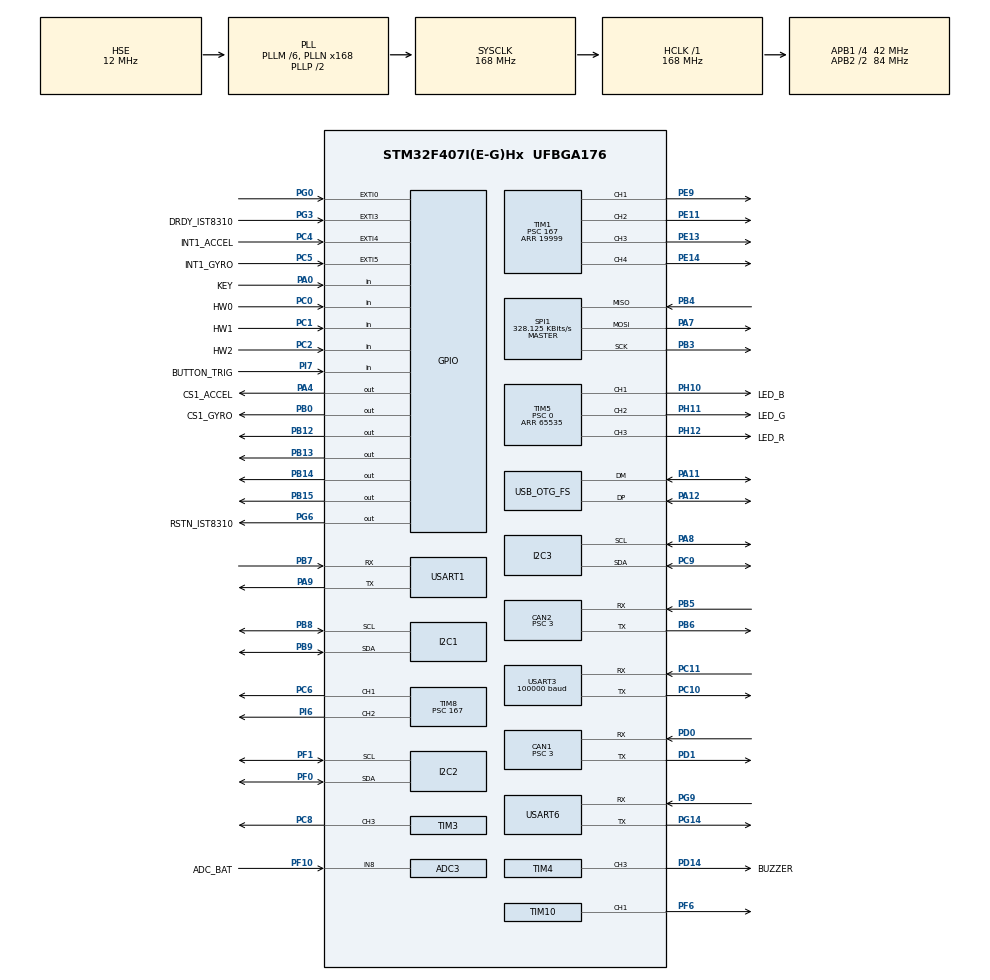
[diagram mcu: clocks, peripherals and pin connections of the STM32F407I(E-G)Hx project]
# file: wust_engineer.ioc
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ADC1.Channel-0\#ChannelRegularConversion=ADC_CHANNEL_TEMPSENSOR
ADC1.ClockPrescaler=ADC_CLOCK_SYNC_PCLK_DIV6
ADC1.NbrOfConversionFlag=1
ADC1.Rank-0\#ChannelRegularConversion=1
ADC1.SamplingTime-0\#ChannelRegularConversion=ADC_SAMPLETIME_3CYCLES
ADC1.master=1
ADC3.Channel-0\#ChannelRegularConversion=ADC_CHANNEL_8
ADC3.ClockPrescaler=ADC_CLOCK_SYNC_PCLK_DIV6
ADC3.NbrOfConversionFlag=1
ADC3.Rank-0\#ChannelRegularConversion=1
ADC3.SamplingTime-0\#ChannelRegularConversion=ADC_SAMPLETIME_3CYCLES
CAN1.BS1=CAN_BS1_10TQ
CAN1.BS2=CAN_BS2_3TQ
CAN1.CalculateBaudRate=1000000
CAN1.CalculateTimeBit=999.99
CAN1.CalculateTimeQuantum=71.42857142857143
CAN1.Prescaler=3
CAN2.BS1=CAN_BS1_10TQ
CAN2.BS2=CAN_BS2_3TQ
CAN2.CalculateBaudRate=1000000
CAN2.CalculateTimeBit=999.99
CAN2.CalculateTimeQuantum=71.42857142857143
CAN2.Prescaler=3
Dma.I2C2_TX.2.Direction=DMA_MEMORY_TO_PERIPH
Dma.I2C2_TX.2.FIFOMode=DMA_FIFOMODE_DISABLE
Dma.I2C2_TX.2.Instance=DMA1_Stream7
Dma.I2C2_TX.2.MemDataAlignment=DMA_MDATAALIGN_BYTE
Dma.I2C2_TX.2.MemInc=DMA_MINC_ENABLE
Dma.I2C2_TX.2.Mode=DMA_NORMAL
Dma.I2C2_TX.2.PeriphDataAlignment=DMA_PDATAALIGN_BYTE
Dma.I2C2_TX.2.PeriphInc=DMA_PINC_DISABLE
Dma.I2C2_TX.2.Priority=DMA_PRIORITY_HIGH
Dma.Request0=SPI1_RX
Dma.Request1=SPI1_TX
Dma.Request2=I2C2_TX
Dma.Request3=USART3_RX
Dma.Request4=USART6_RX
Dma.Request5=USART6_TX
Dma.Request6=USART1_TX
Dma.SPI1_RX.0.Direction=DMA_PERIPH_TO_MEMORY
Dma.SPI1_RX.0.FIFOMode=DMA_FIFOMODE_DISABLE
Dma.SPI1_RX.0.Instance=DMA2_Stream2
Dma.SPI1_RX.0.MemDataAlignment=DMA_MDATAALIGN_BYTE
Dma.SPI1_RX.0.MemInc=DMA_MINC_ENABLE
Dma.SPI1_RX.0.Mode=DMA_NORMAL
Dma.SPI1_RX.0.PeriphDataAlignment=DMA_PDATAALIGN_BYTE
Dma.SPI1_RX.0.PeriphInc=DMA_PINC_DISABLE
Dma.SPI1_RX.0.Priority=DMA_PRIORITY_VERY_HIGH
Dma.SPI1_TX.1.Direction=DMA_MEMORY_TO_PERIPH
Dma.SPI1_TX.1.FIFOMode=DMA_FIFOMODE_DISABLE
Dma.SPI1_TX.1.Instance=DMA2_Stream3
Dma.SPI1_TX.1.MemDataAlignment=DMA_MDATAALIGN_BYTE
Dma.SPI1_TX.1.MemInc=DMA_MINC_ENABLE
Dma.SPI1_TX.1.Mode=DMA_NORMAL
Dma.SPI1_TX.1.PeriphDataAlignment=DMA_PDATAALIGN_BYTE
Dma.SPI1_TX.1.PeriphInc=DMA_PINC_DISABLE
Dma.SPI1_TX.1.Priority=DMA_PRIORITY_HIGH
Dma.USART1_TX.6.Direction=DMA_MEMORY_TO_PERIPH
Dma.USART1_TX.6.FIFOMode=DMA_FIFOMODE_DISABLE
Dma.USART1_TX.6.Instance=DMA2_Stream7
Dma.USART1_TX.6.MemDataAlignment=DMA_MDATAALIGN_BYTE
Dma.USART1_TX.6.MemInc=DMA_MINC_ENABLE
Dma.USART1_TX.6.Mode=DMA_NORMAL
Dma.USART1_TX.6.PeriphDataAlignment=DMA_PDATAALIGN_BYTE
Dma.USART1_TX.6.PeriphInc=DMA_PINC_DISABLE
Dma.USART1_TX.6.Priority=DMA_PRIORITY_MEDIUM
Dma.USART3_RX.3.Direction=DMA_PERIPH_TO_MEMORY
Dma.USART3_RX.3.FIFOMode=DMA_FIFOMODE_DISABLE
Dma.USART3_RX.3.Instance=DMA1_Stream1
Dma.USART3_RX.3.MemDataAlignment=DMA_MDATAALIGN_BYTE
Dma.USART3_RX.3.MemInc=DMA_MINC_ENABLE
Dma.USART3_RX.3.Mode=DMA_NORMAL
Dma.USART3_RX.3.PeriphDataAlignment=DMA_PDATAALIGN_BYTE
Dma.USART3_RX.3.PeriphInc=DMA_PINC_DISABLE
Dma.USART3_RX.3.Priority=DMA_PRIORITY_HIGH
Dma.USART6_RX.4.Direction=DMA_PERIPH_TO_MEMORY
Dma.USART6_RX.4.FIFOMode=DMA_FIFOMODE_DISABLE
Dma.USART6_RX.4.Instance=DMA2_Stream1
Dma.USART6_RX.4.MemDataAlignment=DMA_MDATAALIGN_BYTE
Dma.USART6_RX.4.MemInc=DMA_MINC_ENABLE
Dma.USART6_RX.4.Mode=DMA_NORMAL
Dma.USART6_RX.4.PeriphDataAlignment=DMA_PDATAALIGN_BYTE
Dma.USART6_RX.4.PeriphInc=DMA_PINC_DISABLE
Dma.USART6_RX.4.Priority=DMA_PRIORITY_HIGH
Dma.USART6_TX.5.Direction=DMA_MEMORY_TO_PERIPH
Dma.USART6_TX.5.FIFOMode=DMA_FIFOMODE_DISABLE
Dma.USART6_TX.5.Instance=DMA2_Stream6
Dma.USART6_TX.5.MemDataAlignment=DMA_MDATAALIGN_BYTE
Dma.USART6_TX.5.MemInc=DMA_MINC_ENABLE
Dma.USART6_TX.5.Mode=DMA_NORMAL
Dma.USART6_TX.5.PeriphDataAlignment=DMA_PDATAALIGN_BYTE
Dma.USART6_TX.5.PeriphInc=DMA_PINC_DISABLE
Dma.USART6_TX.5.Priority=DMA_PRIORITY_MEDIUM
FREERTOS.INCLUDE_eTaskGetState=1
FREERTOS.INCLUDE_pcTaskGetTaskName=1
FREERTOS.INCLUDE_uxTaskGetStackHighWaterMark=1
FREERTOS.INCLUDE_vTaskCleanUpResources=1
FREERTOS.INCLUDE_vTaskDelayUntil=1
FREERTOS.INCLUDE_xEventGroupSetBitFromISR=1
FREERTOS.INCLUDE_xQueueGetMutexHolder=1
FREERTOS.INCLUDE_xSemaphoreGetMutexHolder=1
FREERTOS.INCLUDE_xTaskAbortDelay=1
FREERTOS.INCLUDE_xTaskGetCurrentTaskHandle=1
FREERTOS.INCLUDE_xTaskGetHandle=1
FREERTOS.INCLUDE_xTimerPendFunctionCall=1
FREERTOS.Tasks01=test,24,128,test_task,As weak,NULL,Dynamic,NULL,NULL
FREERTOS.configTOTAL_HEAP_SIZE=24576
I2C1.I2C_Mode=I2C_Fast
I2C2.I2C_Mode=I2C_Fast
I2C3.I2C_Mode=I2C_Fast
Mcu.Family=STM32F4
Mcu.Name=STM32F407I(E-G)Hx
Mcu.Package=UFBGA176
NVIC.CAN1_RX0_IRQn=true\:6\:0\:true\:false\:true\:true\:true\:true
NVIC.CAN2_RX0_IRQn=true\:6\:0\:true\:false\:true\:true\:true\:true
NVIC.DMA1_Stream1_IRQn=true\:5\:0\:true\:false\:false\:true\:false\:false
NVIC.DMA1_Stream7_IRQn=true\:5\:0\:true\:false\:false\:true\:false\:true
NVIC.DMA2_Stream1_IRQn=true\:5\:0\:true\:false\:true\:true\:false\:true
NVIC.DMA2_Stream2_IRQn=true\:5\:0\:true\:false\:false\:true\:false\:true
NVIC.DMA2_Stream3_IRQn=true\:5\:0\:true\:false\:false\:true\:false\:true
NVIC.DMA2_Stream6_IRQn=true\:5\:0\:true\:false\:true\:true\:false\:true
NVIC.DMA2_Stream7_IRQn=true\:5\:0\:true\:false\:true\:true\:false\:true
NVIC.EXTI0_IRQn=true\:6\:0\:true\:false\:true\:true\:true\:true
NVIC.EXTI3_IRQn=true\:5\:0\:true\:false\:true\:true\:true\:true
NVIC.EXTI4_IRQn=true\:5\:0\:true\:false\:true\:true\:true\:true
NVIC.EXTI9_5_IRQn=true\:5\:0\:true\:false\:true\:true\:true\:true
NVIC.OTG_FS_IRQn=true\:5\:0\:false\:false\:true\:true\:false\:true
NVIC.PriorityGroup=NVIC_PRIORITYGROUP_4
NVIC.TIM1_BRK_TIM9_IRQn=true\:5\:0\:false\:false\:true\:false\:false\:true
NVIC.USART3_IRQn=true\:4\:0\:true\:false\:false\:false\:true\:true
NVIC.USART6_IRQn=true\:5\:0\:true\:false\:false\:true\:true\:true
PA0-WKUP.GPIO_Label=KEY
PA0-WKUP.GPIO_PuPd=GPIO_PULLUP
PA0-WKUP.Signal=GPIO_Input
PA11.Mode=Device_Only
PA11.Signal=USB_OTG_FS_DM
PA12.Mode=Device_Only
PA12.Signal=USB_OTG_FS_DP
PA13.Mode=Serial_Wire
PA13.Signal=SYS_JTMS-SWDIO
PA14.Mode=Serial_Wire
PA14.Signal=SYS_JTCK-SWCLK
PA4.GPIO_Label=CS1_ACCEL
PA4.GPIO_PuPd=GPIO_PULLUP
PA4.GPIO_Speed=GPIO_SPEED_FREQ_HIGH
PA4.PinState=GPIO_PIN_SET
PA4.Signal=GPIO_Output
PA7.GPIO_PuPd=GPIO_PULLUP
PA7.Mode=Full_Duplex_Master
PA7.Signal=SPI1_MOSI
PA8.Mode=I2C
PA8.Signal=I2C3_SCL
PA9.Mode=Asynchronous
PA9.Signal=USART1_TX
PB0.GPIO_Label=CS1_GYRO
PB0.GPIO_PuPd=GPIO_PULLUP
PB0.GPIO_Speed=GPIO_SPEED_FREQ_HIGH
PB0.PinState=GPIO_PIN_SET
PB0.Signal=GPIO_Output
PB12.Signal=GPIO_Output
PB13.Signal=GPIO_Output
PB14.Signal=GPIO_Output
PB15.Signal=GPIO_Output
PB3.GPIO_PuPd=GPIO_PULLUP
PB3.Mode=Full_Duplex_Master
PB3.Signal=SPI1_SCK
PB4.GPIO_PuPd=GPIO_PULLUP
PB4.Mode=Full_Duplex_Master
PB4.Signal=SPI1_MISO
PB5.Mode=CAN_Activate
PB5.Signal=CAN2_RX
PB6.Mode=CAN_Activate
PB6.Signal=CAN2_TX
PB7.Mode=Asynchronous
PB7.Signal=USART1_RX
PB8.Mode=I2C
PB8.Signal=I2C1_SCL
PB9.Mode=I2C
PB9.Signal=I2C1_SDA
PC0.GPIO_Label=HW0
PC0.Signal=GPIO_Input
PC1.GPIO_Label=HW1
PC1.Signal=GPIO_Input
PC10.Mode=Asynchronous
PC10.Signal=USART3_TX
PC11.Mode=Asynchronous
PC11.Signal=USART3_RX
PC2.GPIO_Label=HW2
PC2.Signal=GPIO_Input
PC4.GPIO_Label=INT1_ACCEL
PC4.GPIO_ModeDefaultEXTI=GPIO_MODE_IT_FALLING
PC4.GPIO_PuPd=GPIO_PULLUP
PC4.Signal=GPXTI4
PC5.GPIO_Label=INT1_GYRO
PC5.GPIO_ModeDefaultEXTI=GPIO_MODE_IT_FALLING
PC5.GPIO_PuPd=GPIO_PULLUP
PC5.Signal=GPXTI5
PC6.GPIO_PuPd=GPIO_PULLUP
PC6.GPIO_Speed=GPIO_SPEED_FREQ_HIGH
PC6.Signal=S_TIM8_CH1
PC8.GPIO_PuPd=GPIO_PULLUP
PC8.GPIO_Speed=GPIO_SPEED_FREQ_HIGH
PC8.Signal=S_TIM3_CH3
PC9.Mode=I2C
PC9.Signal=I2C3_SDA
PD0.Mode=CAN_Activate
PD0.Signal=CAN1_RX
PD1.Mode=CAN_Activate
PD1.Signal=CAN1_TX
PD14.GPIO_Label=BUZZER
PD14.GPIO_PuPd=GPIO_PULLUP
PD14.GPIO_Speed=GPIO_SPEED_FREQ_VERY_HIGH
PD14.Signal=S_TIM4_CH3
PE11.GPIO_PuPd=GPIO_PULLUP
PE11.GPIO_Speed=GPIO_SPEED_FREQ_HIGH
PE11.Signal=S_TIM1_CH2
PE13.GPIO_PuPd=GPIO_PULLUP
PE13.GPIO_Speed=GPIO_SPEED_FREQ_HIGH
PE13.Signal=S_TIM1_CH3
PE14.GPIO_PuPd=GPIO_PULLUP
PE14.GPIO_Speed=GPIO_SPEED_FREQ_HIGH
PE14.Signal=S_TIM1_CH4
PE9.GPIO_PuPd=GPIO_PULLUP
PE9.GPIO_Speed=GPIO_SPEED_FREQ_HIGH
PE9.Signal=S_TIM1_CH1
PF0.Mode=I2C
PF0.Signal=I2C2_SDA
PF1.Mode=I2C
PF1.Signal=I2C2_SCL
PF10.GPIO_Label=ADC_BAT
PF10.Mode=IN8
PF10.Signal=ADC3_IN8
PF6.GPIO_PuPd=GPIO_PULLUP
PF6.GPIO_Speed=GPIO_SPEED_FREQ_HIGH
PF6.Signal=S_TIM10_CH1
PG0.GPIO_ModeDefaultEXTI=GPIO_MODE_IT_FALLING
PG0.GPIO_PuPd=GPIO_PULLUP
PG0.Signal=GPXTI0
PG14.Mode=Asynchronous
PG14.Signal=USART6_TX
PG3.GPIO_Label=DRDY_IST8310
PG3.GPIO_ModeDefaultEXTI=GPIO_MODE_IT_FALLING
PG3.GPIO_PuPd=GPIO_PULLUP
PG3.Signal=GPXTI3
PG6.GPIO_Label=RSTN_IST8310
PG6.GPIO_PuPd=GPIO_PULLUP
PG6.GPIO_Speed=GPIO_SPEED_FREQ_MEDIUM
PG6.PinState=GPIO_PIN_SET
PG6.Signal=GPIO_Output
PG9.Mode=Asynchronous
PG9.Signal=USART6_RX
PH0-OSC_IN.Mode=HSE-External-Oscillator
PH0-OSC_IN.Signal=RCC_OSC_IN
PH1-OSC_OUT.Mode=HSE-External-Oscillator
PH1-OSC_OUT.Signal=RCC_OSC_OUT
PH10.GPIO_Label=LED_B
PH10.GPIO_PuPd=GPIO_PULLUP
PH10.GPIO_Speed=GPIO_SPEED_FREQ_HIGH
PH10.Signal=S_TIM5_CH1
PH11.GPIO_Label=LED_G
PH11.GPIO_PuPd=GPIO_PULLUP
PH11.GPIO_Speed=GPIO_SPEED_FREQ_HIGH
PH11.Signal=S_TIM5_CH2
PH12.GPIO_Label=LED_R
PH12.GPIO_PuPd=GPIO_PULLUP
PH12.GPIO_Speed=GPIO_SPEED_FREQ_HIGH
PH12.Signal=S_TIM5_CH3
PI6.GPIO_PuPd=GPIO_PULLUP
PI6.GPIO_Speed=GPIO_SPEED_FREQ_HIGH
PI6.Signal=S_TIM8_CH2
PI7.GPIO_Label=BUTTON_TRIG
PI7.GPIO_PuPd=GPIO_PULLUP
PI7.Signal=GPIO_Input
ProjectManager.HeapSize=0x2000
ProjectManager.StackSize=0x2000
ProjectManager.TargetToolchain=MDK-ARM V5
RCC.48MHZClocksFreq_Value=48000000
RCC.AHBFreq_Value=168000000
RCC.APB1CLKDivider=RCC_HCLK_DIV4
RCC.APB1Freq_Value=42000000
RCC.APB1TimFreq_Value=84000000
RCC.APB2CLKDivider=RCC_HCLK_DIV2
RCC.APB2Freq_Value=84000000
RCC.APB2TimFreq_Value=168000000
RCC.CortexFreq_Value=168000000
RCC.HCLKFreq_Value=168000000
RCC.HSE_VALUE=12000000
RCC.HSI_VALUE=16000000
RCC.LSE_VALUE=32768
RCC.PLLM=6
RCC.PLLN=168
RCC.PLLQ=7
RCC.RCC_RTC_Clock_SourceVirtual=RCC_RTCCLKSOURCE_HSE_DIV30
RCC.RCC_RTC_Clock_Source_FROM_HSE=RCC_RTCCLKSOURCE_HSE_DIV30
RCC.SYSCLKFreq_VALUE=168000000
RCC.SYSCLKSource=RCC_SYSCLKSOURCE_PLLCLK
RCC.VCOOutputFreq_Value=336000000
RTC.AsynchPrediv=124
RTC.SynchPrediv=3199
SH.S_TIM10_CH1.0=TIM10_CH1,PWM Generation1 CH1
SH.S_TIM1_CH1.0=TIM1_CH1,PWM Generation1 CH1
SH.S_TIM1_CH2.0=TIM1_CH2,PWM Generation2 CH2
SH.S_TIM1_CH3.0=TIM1_CH3,PWM Generation3 CH3
SH.S_TIM1_CH4.0=TIM1_CH4,PWM Generation4 CH4
SH.S_TIM3_CH3.0=TIM3_CH3,PWM Generation3 CH3
SH.S_TIM4_CH3.0=TIM4_CH3,PWM Generation3 CH3
SH.S_TIM5_CH1.0=TIM5_CH1,PWM Generation1 CH1
SH.S_TIM5_CH2.0=TIM5_CH2,PWM Generation2 CH2
SH.S_TIM5_CH3.0=TIM5_CH3,PWM Generation3 CH3
SH.S_TIM8_CH1.0=TIM8_CH1,PWM Generation1 CH1
SH.S_TIM8_CH2.0=TIM8_CH2,PWM Generation2 CH2
SPI1.BaudRatePrescaler=SPI_BAUDRATEPRESCALER_256
SPI1.CLKPhase=SPI_PHASE_2EDGE
SPI1.CLKPolarity=SPI_POLARITY_HIGH
SPI1.CalculateBaudRate=328.125 KBits/s
SPI1.Direction=SPI_DIRECTION_2LINES
SPI1.Mode=SPI_MODE_MASTER
SPI1.VirtualType=VM_MASTER
TIM1.Channel-PWM\ Generation1\ CH1=TIM_CHANNEL_1
TIM1.Channel-PWM\ Generation2\ CH2=TIM_CHANNEL_2
TIM1.Channel-PWM\ Generation3\ CH3=TIM_CHANNEL_3
TIM1.Channel-PWM\ Generation4\ CH4=TIM_CHANNEL_4
TIM1.Period=19999
TIM1.Prescaler=167
TIM1.Pulse-PWM\ Generation1\ CH1=1000
TIM1.Pulse-PWM\ Generation2\ CH2=1000
TIM1.Pulse-PWM\ Generation3\ CH3=1000
TIM1.Pulse-PWM\ Generation4\ CH4=1000
TIM10.Channel=TIM_CHANNEL_1
TIM10.Period=4999
TIM3.Channel-PWM\ Generation3\ CH3=TIM_CHANNEL_3
TIM3.Period=8399
TIM4.Channel-PWM\ Generation3\ CH3=TIM_CHANNEL_3
TIM4.Prescaler=167
TIM5.Channel-PWM\ Generation1\ CH1=TIM_CHANNEL_1
TIM5.Channel-PWM\ Generation2\ CH2=TIM_CHANNEL_2
TIM5.Channel-PWM\ Generation3\ CH3=TIM_CHANNEL_3
TIM5.Period=65535
TIM5.Prescaler=0
TIM8.Channel-PWM\ Generation1\ CH1=TIM_CHANNEL_1
TIM8.Channel-PWM\ Generation2\ CH2=TIM_CHANNEL_2
TIM8.Period=19999
TIM8.Prescaler=167
TIM8.Pulse-PWM\ Generation1\ CH1=1000
TIM8.Pulse-PWM\ Generation2\ CH2=1000
USART1.VirtualMode=VM_ASYNC
USART3.BaudRate=100000
USART3.Parity=PARITY_EVEN
USART3.VirtualMode=VM_ASYNC
USART6.VirtualMode=VM_ASYNC
USB_DEVICE.CLASS_NAME_FS=CDC
USB_DEVICE.VirtualMode-CDC_FS=Cdc
USB_DEVICE.VirtualModeFS=Cdc_FS
USB_OTG_FS.VirtualMode=Device_Only
VP_ADC1_TempSens_Input.Mode=IN-TempSens
VP_ADC1_Vref_Input.Mode=IN-Vrefint
VP_CRC_VS_CRC.Mode=CRC_Activate
VP_FREERTOS_VS_CMSIS_V1.Mode=CMSIS_V1
VP_RNG_VS_RNG.Mode=RNG_Activate
VP_RTC_VS_RTC_Activate.Mode=RTC_Enabled
VP_TIM10_VS_ClockSourceINT.Mode=Enable_Timer
VP_TIM1_VS_ClockSourceINT.Mode=Internal
VP_TIM3_VS_ClockSourceINT.Mode=Internal
VP_TIM4_VS_ClockSourceINT.Mode=Internal
VP_TIM5_VS_ClockSourceINT.Mode=Internal
VP_TIM8_VS_ClockSourceINT.Mode=Internal
VP_USB_DEVICE_VS_USB_DEVICE_CDC_FS.Mode=CDC_FS
board=custom

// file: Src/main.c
/* USER CODE BEGIN Header */
/**
  ******************************************************************************
  * @file           : main.c
  * @brief          : Main program body
  ******************************************************************************
  * @attention
  *
  * <h2><center>&copy; Copyright (c) 2019 STMicroelectronics.
  * All rights reserved.</center></h2>
  *
  * This software component is licensed by ST under Ultimate Liberty license
  * SLA0044, the "License"; You may not use this file except in compliance with
  * the License. You may obtain a copy of the License at:
  *                             www.st.com/SLA0044
  *
  ******************************************************************************
  */
/* USER CODE END Header */
#include "main.h"
#include "cmsis_os.h"
#include "adc.h"
#include "can.h"
#include "crc.h"
#include "dma.h"
#include "i2c.h"
#include "rng.h"
#include "rtc.h"
#include "spi.h"
#include "tim.h"
#include "usart.h"
#include "usb_device.h"
#include "gpio.h"

/* USER CODE BEGIN Includes */
#include "bsp_can.h"
#include "bsp_delay.h"
#include "bsp_usart.h"
#include "remote_control.h"

#include "calibrate_task.h"
#include "chassis_task.h"
#include "detect_task.h"
#include "gimbal_task.h"
#include "INS_task.h"
#include "led_flow_task.h"
#include "oled_task.h"
#include "referee_usart_task.h"
#include "usb_task.h"
#include "voltage_task.h"
/* USER CODE END Includes */

void SystemClock_Config(void);
void MX_FREERTOS_Init(void);

int main(void)
{

  /* MCU Configuration--------------------------------------------------------*/

  /* Reset of all peripherals, Initializes the Flash interface and the Systick. */
  HAL_Init();

  /* Configure the system clock */
  SystemClock_Config();

  /* Initialize all configured peripherals */
  MX_GPIO_Init();
  MX_DMA_Init();
  MX_ADC1_Init();
  MX_ADC3_Init();
  MX_CAN1_Init();
  MX_CAN2_Init();
  MX_I2C1_Init();
  MX_SPI1_Init();
  MX_TIM4_Init();
  MX_TIM5_Init();
  MX_USART3_UART_Init();
  MX_TIM8_Init();
  MX_CRC_Init();
  MX_RNG_Init();
  MX_I2C2_Init();
  MX_I2C3_Init();
  MX_RTC_Init();
  MX_TIM1_Init();
  MX_TIM3_Init();
  MX_TIM10_Init();
  MX_USART1_UART_Init();
  MX_USART6_UART_Init();
  /* USER CODE BEGIN 2 */
  MX_USB_DEVICE_Init();
    can_filter_init();
    delay_init();
    cali_param_init();
    remote_control_init();
    usart1_tx_dma_init();
  /* USER CODE END 2 */

  /* Call init function for freertos objects (in freertos.c) */
  MX_FREERTOS_Init();
  /* Start scheduler */
  osKernelStart();

  /* We should never get here as control is now taken by the scheduler */
  /* Infinite loop */
  while (1)
  {

  }
}

void SystemClock_Config(void)
{
  RCC_OscInitTypeDef RCC_OscInitStruct = {0};
  RCC_ClkInitTypeDef RCC_ClkInitStruct = {0};
  RCC_PeriphCLKInitTypeDef PeriphClkInitStruct = {0};

  /** Configure the main internal regulator output voltage
  */
  __HAL_RCC_PWR_CLK_ENABLE();
  __HAL_PWR_VOLTAGESCALING_CONFIG(PWR_REGULATOR_VOLTAGE_SCALE1);
  /** Initializes the RCC Oscillators according to the specified parameters
  * in the RCC_OscInitTypeDef structure.
  */
  RCC_OscInitStruct.OscillatorType = RCC_OSCILLATORTYPE_HSE;
  RCC_OscInitStruct.HSEState = RCC_HSE_ON;
  RCC_OscInitStruct.PLL.PLLState = RCC_PLL_ON;
  RCC_OscInitStruct.PLL.PLLSource = RCC_PLLSOURCE_HSE;
  RCC_OscInitStruct.PLL.PLLM = 6;
  RCC_OscInitStruct.PLL.PLLN = 168;
  RCC_OscInitStruct.PLL.PLLP = RCC_PLLP_DIV2;
  RCC_OscInitStruct.PLL.PLLQ = 7;
  if (HAL_RCC_OscConfig(&RCC_OscInitStruct) != HAL_OK)
  {
    Error_Handler();
  }
  /** Initializes the CPU, AHB and APB buses clocks
  */
  RCC_ClkInitStruct.ClockType = RCC_CLOCKTYPE_HCLK|RCC_CLOCKTYPE_SYSCLK
                              |RCC_CLOCKTYPE_PCLK1|RCC_CLOCKTYPE_PCLK2;
  RCC_ClkInitStruct.SYSCLKSource = RCC_SYSCLKSOURCE_PLLCLK;
  RCC_ClkInitStruct.AHBCLKDivider = RCC_SYSCLK_DIV1;
  RCC_ClkInitStruct.APB1CLKDivider = RCC_HCLK_DIV4;
  RCC_ClkInitStruct.APB2CLKDivider = RCC_HCLK_DIV2;

  if (HAL_RCC_ClockConfig(&RCC_ClkInitStruct, FLASH_LATENCY_5) != HAL_OK)
  {
    Error_Handler();
  }
  PeriphClkInitStruct.PeriphClockSelection = RCC_PERIPHCLK_RTC;
  PeriphClkInitStruct.RTCClockSelection = RCC_RTCCLKSOURCE_HSE_DIV30;
  if (HAL_RCCEx_PeriphCLKConfig(&PeriphClkInitStruct) != HAL_OK)
  {
    Error_Handler();
  }
}

void Error_Handler(void)
{
}

/************************ (C) COPYRIGHT STMicroelectronics *****END OF FILE****/

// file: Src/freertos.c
/* USER CODE BEGIN Header */
/**
  ******************************************************************************
  * File Name          : freertos.c
  * Description        : Code for freertos applications
  ******************************************************************************
  * @attention
  *
  * <h2><center>&copy; Copyright (c) 2019 STMicroelectronics.
  * All rights reserved.</center></h2>
  *
  * This software component is licensed by ST under Ultimate Liberty license
  * SLA0044, the "License"; You may not use this file except in compliance with
  * the License. You may obtain a copy of the License at:
  *                             www.st.com/SLA0044
  *
  ******************************************************************************
  */
/* USER CODE END Header */

#include "FreeRTOS.h"
#include "task.h"
#include "main.h"
#include "cmsis_os.h"

/* USER CODE BEGIN Includes */

#include "calibrate_task.h"
#include "chassis_task.h"
#include "detect_task.h"
#include "INS_task.h"
#include "led_flow_task.h"
#include "referee_usart_task.h"
#include "usb_task.h"
#include "voltage_task.h"
#include "user_input_task.h"
#include "pc_task.h"
#include "motor_position_task.h"
#include "odometer_task.h"

/* USER CODE END Includes */

/* USER CODE BEGIN PTD */

osThreadId calibrate_tast_handle;
osThreadId chassisTaskHandle;
osThreadId detect_handle;
osThreadId imuTaskHandle;
osThreadId led_RGB_flow_handle;
osThreadId referee_usart_task_handle;
osThreadId usb_task_handle;
osThreadId battery_voltage_handle;
osThreadId user_input_task_handle;
osThreadId pc_task_handle;
osThreadId motor_position_task_handle;
osThreadId odometer_task_handle;

/* USER CODE END PTD */

osThreadId testHandle;

void test_task(void const * argument);

extern void MX_USB_DEVICE_Init(void);
void MX_FREERTOS_Init(void); /* (MISRA C 2004 rule 8.1) */

/* GetIdleTaskMemory prototype (linked to static allocation support) */
void vApplicationGetIdleTaskMemory( StaticTask_t **ppxIdleTaskTCBBuffer, StackType_t **ppxIdleTaskStackBuffer, uint32_t *pulIdleTaskStackSize );

/* GetTimerTaskMemory prototype (linked to static allocation support) */
void vApplicationGetTimerTaskMemory( StaticTask_t **ppxTimerTaskTCBBuffer, StackType_t **ppxTimerTaskStackBuffer, uint32_t *pulTimerTaskStackSize );

/* USER CODE BEGIN GET_IDLE_TASK_MEMORY */
static StaticTask_t xIdleTaskTCBBuffer;
static StackType_t xIdleStack[configMINIMAL_STACK_SIZE];

void vApplicationGetIdleTaskMemory( StaticTask_t **ppxIdleTaskTCBBuffer, StackType_t **ppxIdleTaskStackBuffer, uint32_t *pulIdleTaskStackSize )
{
  *ppxIdleTaskTCBBuffer = &xIdleTaskTCBBuffer;
  *ppxIdleTaskStackBuffer = &xIdleStack[0];
  *pulIdleTaskStackSize = configMINIMAL_STACK_SIZE;
  /* place for user code */
}
/* USER CODE END GET_IDLE_TASK_MEMORY */

/* USER CODE BEGIN GET_TIMER_TASK_MEMORY */
static StaticTask_t xTimerTaskTCBBuffer;
static StackType_t xTimerStack[configTIMER_TASK_STACK_DEPTH];

void vApplicationGetTimerTaskMemory( StaticTask_t **ppxTimerTaskTCBBuffer, StackType_t **ppxTimerTaskStackBuffer, uint32_t *pulTimerTaskStackSize )
{
  *ppxTimerTaskTCBBuffer = &xTimerTaskTCBBuffer;
  *ppxTimerTaskStackBuffer = &xTimerStack[0];
  *pulTimerTaskStackSize = configTIMER_TASK_STACK_DEPTH;
  /* place for user code */
}
/* USER CODE END GET_TIMER_TASK_MEMORY */

void MX_FREERTOS_Init(void) {

  /* Create the thread(s) */
  /* definition and creation of test */
  osThreadDef(test, test_task, osPriorityNormal, 0, 128);
  testHandle = osThreadCreate(osThread(test), NULL);

  /* USER CODE BEGIN RTOS_THREADS */
  /* add threads, ... */
    osThreadDef(cali, calibrate_task, osPriorityNormal, 0, 512);
    calibrate_tast_handle = osThreadCreate(osThread(cali), NULL);

    osThreadDef(ChassisTask, chassis_task, osPriorityAboveNormal, 0, 512);
    chassisTaskHandle = osThreadCreate(osThread(ChassisTask), NULL);

    osThreadDef(DETECT, detect_task, osPriorityNormal, 0, 256);
    detect_handle = osThreadCreate(osThread(DETECT), NULL);

    osThreadDef(imuTask, INS_task, osPriorityRealtime, 0, 1024);
    imuTaskHandle = osThreadCreate(osThread(imuTask), NULL);

    osThreadDef(led, led_RGB_flow_task, osPriorityNormal, 0, 256);
    led_RGB_flow_handle = osThreadCreate(osThread(led), NULL);

    osThreadDef(REFEREE, referee_usart_task, osPriorityNormal, 0, 128);
    referee_usart_task_handle = osThreadCreate(osThread(REFEREE), NULL);

    osThreadDef(USBTask, usb_task, osPriorityNormal, 0, 128);
    usb_task_handle = osThreadCreate(osThread(USBTask), NULL);

    osThreadDef(BATTERY_VOLTAGE, battery_voltage_task, osPriorityNormal, 0, 128);
    battery_voltage_handle = osThreadCreate(osThread(BATTERY_VOLTAGE), NULL);

    osThreadDef(INPUT, user_input_task, osPriorityNormal, 0, 128);
    user_input_task_handle = osThreadCreate(osThread(INPUT), NULL);

    osThreadDef(PC, pc_task, osPriorityNormal, 0, 128);
    pc_task_handle = osThreadCreate(osThread(PC), NULL);

    osThreadDef(MOTOR_POSITION, motor_position_task, osPriorityAboveNormal, 0, 512);
    motor_position_task_handle = osThreadCreate(osThread(MOTOR_POSITION), NULL);

    osThreadDef(ODOMETER, odometer_task, osPriorityHigh, 0, 512);
    odometer_task_handle = osThreadCreate(osThread(ODOMETER), NULL);

  /* USER CODE END RTOS_THREADS */

}

__weak void test_task(void const * argument)
{
  /* init code for USB_DEVICE */
  MX_USB_DEVICE_Init();
  for(;;)
  {
    osDelay(1);
  }
}

/************************ (C) COPYRIGHT STMicroelectronics *****END OF FILE****/
